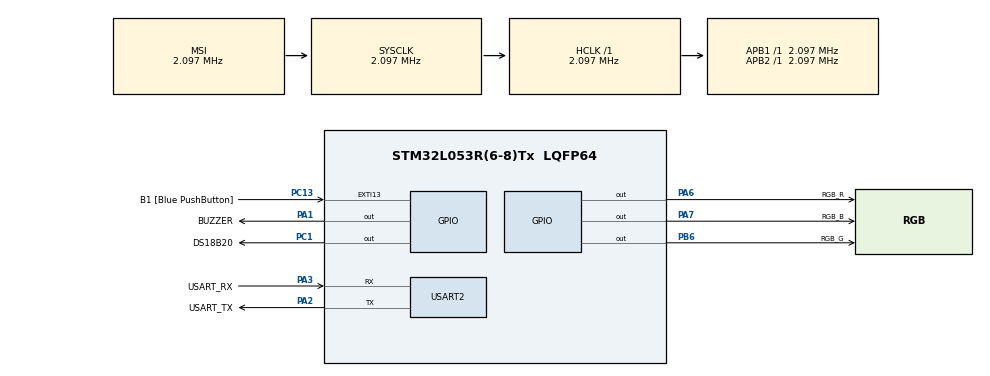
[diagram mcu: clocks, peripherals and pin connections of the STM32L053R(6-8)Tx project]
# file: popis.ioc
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Mcu.Family=STM32L0
Mcu.Name=STM32L053R(6-8)Tx
Mcu.Package=LQFP64
PA1.GPIO_Label=BUZZER
PA1.Signal=GPIO_Output
PA13.GPIO_Label=TMS
PA13.Mode=Serial_Wire
PA13.Signal=SYS_SWDIO
PA14.GPIO_Label=TCK
PA14.Mode=Serial_Wire
PA14.Signal=SYS_SWCLK
PA2.GPIO_Label=USART_TX
PA2.Mode=Asynchronous
PA2.Signal=USART2_TX
PA3.GPIO_Label=USART_RX
PA3.Mode=Asynchronous
PA3.Signal=USART2_RX
PA6.GPIO_Label=RGB_R
PA6.Signal=GPIO_Output
PA7.GPIO_Label=RGB_B
PA7.Signal=GPIO_Output
PB6.GPIO_FM6=__NULL
PB6.GPIO_Label=RGB_G
PB6.Signal=GPIO_Output
PC1.GPIO_Label=DS18B20
PC1.GPIO_ModeDefaultOutputPP=GPIO_MODE_OUTPUT_OD
PC1.GPIO_PuPd=GPIO_PULLUP
PC1.PinState=GPIO_PIN_RESET
PC1.Signal=GPIO_Output
PC13.GPIO_Label=B1 [Blue PushButton]
PC13.GPIO_ModeDefaultEXTI=GPIO_MODE_IT_FALLING
PC13.Signal=GPXTI13
PC14-OSC32_IN.Mode=LSE-External-Oscillator
PC14-OSC32_IN.Signal=RCC_OSC32_IN
PC15-OSC32_OUT.Mode=LSE-External-Oscillator
PC15-OSC32_OUT.Signal=RCC_OSC32_OUT
PH0-OSC_IN.Mode=HSE-External-Clock-Source
PH0-OSC_IN.Signal=RCC_OSC_IN
PH1-OSC_OUT.Signal=RCC_OSC_OUT
ProjectManager.HeapSize=0x200
ProjectManager.StackSize=0x400
ProjectManager.TargetToolchain=STM32CubeIDE
RCC.AHBFreq_Value=2097000
RCC.APB1Freq_Value=2097000
RCC.APB1TimFreq_Value=2097000
RCC.APB2Freq_Value=2097000
RCC.APB2TimFreq_Value=2097000
RCC.HSE_VALUE=8000000
RCC.HSI16_VALUE=16000000
RCC.HSI48_VALUE=48000000
RCC.HSI_VALUE=16000000
RCC.MSI_VALUE=2097000
RCC.SYSCLKFreq_VALUE=2097000
RCC.VCOOutputFreq_Value=48000000
TIM2.Prescaler=1
USART2.VirtualMode-Asynchronous=VM_ASYNC
VP_TIM2_VS_ClockSourceINT.Mode=Internal
board=NUCLEO-L053R8

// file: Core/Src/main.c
/* USER CODE BEGIN Header */
/**
  ******************************************************************************
  * @file           : main.c
  * @brief          : Main program body
  ******************************************************************************
  * @attention
  *
  * Copyright (c) 2026 STMicroelectronics.
  * All rights reserved.
  *
  * This software is licensed under terms that can be found in the LICENSE file
  * in the root directory of this software component.
  * If no LICENSE file comes with this software, it is provided AS-IS.
  *
  ******************************************************************************
  */
/* USER CODE END Header */
#include "main.h"
#include <stdio.h>
#include <string.h>
#include "onewire_stm32.h"
/* USER CODE BEGIN Includes */
#include <stdio.h>
#include <string.h>
#include "onewire_stm32.h"
/* USER CODE END Includes */

TIM_HandleTypeDef htim2;

UART_HandleTypeDef huart2;

void SystemClock_Config(void);
static void MX_GPIO_Init(void);
static void MX_USART2_UART_Init(void);
static void MX_TIM2_Init(void);
/* USER CODE BEGIN PFP */
void delay_us(uint16_t us);
/* USER CODE END PFP */

/* USER CODE BEGIN 0 */

float DS18B20_ReadTemp(void)
{
  if (!OW_Reset())
    return -100.0f;

  delay_us(200);

  OW_WriteByte(0xCC);
  OW_WriteByte(0x44);

  // ← ВАЖНО
  while (!OW_ReadByte());

  if (!OW_Reset())
    return -200.0f;

  delay_us(200);

  OW_WriteByte(0xCC);
  OW_WriteByte(0xBE);

  uint8_t temp_l = OW_ReadByte();
  uint8_t temp_h = OW_ReadByte();

  char rawmsg[60];
  sprintf(rawmsg, "RAW L=%02X H=%02X\r\n", temp_l, temp_h);
  HAL_UART_Transmit(&huart2, (uint8_t*)rawmsg, strlen(rawmsg), 100);

  int16_t raw = (temp_h << 8) | temp_l;

  return raw / 16.0f;
}

/* USER CODE END 0 */

int main(void)
{

  /* MCU Configuration--------------------------------------------------------*/

  /* Reset of all peripherals, Initializes the Flash interface and the Systick. */
  HAL_Init();

  /* Configure the system clock */
  SystemClock_Config();

  /* Initialize all configured peripherals */
  MX_GPIO_Init();
  MX_USART2_UART_Init();
  MX_TIM2_Init();
  /* USER CODE BEGIN 2 */
  HAL_TIM_Base_Start(&htim2);
  OW_Init(DS18B20_GPIO_Port, DS18B20_Pin);
  HAL_GPIO_WritePin(DS18B20_GPIO_Port, DS18B20_Pin, GPIO_PIN_SET);
  HAL_Delay(10);
  /* USER CODE END 2 */

  /* Infinite loop */
  /* USER CODE BEGIN WHILE */
  while (1)
  {
	  float t = DS18B20_ReadTemp();

	  int temp100 = (int)(t * 100);
	  char msg[50];

	  if (t < 0)
	  {
	    temp100 = -temp100;
	    sprintf(msg, "Temp: %d.%02d\r\n", temp100 / 100, temp100 % 100);
	  }
	  else
	  {
	    sprintf(msg, "Temp: %d.%02d\r\n", temp100 / 100, temp100 % 100);
	  }

	  HAL_UART_Transmit(&huart2, (uint8_t*)msg, strlen(msg), 100);
	  // если датчик/чтение сломалось — синий
	  // 🔵 если датчик не найден / ошибка
	  if (t == -100.0f || t == -200.0f)
	  {
	    HAL_GPIO_WritePin(RGB_R_GPIO_Port, RGB_R_Pin, GPIO_PIN_RESET);
	    HAL_GPIO_WritePin(RGB_G_GPIO_Port, RGB_G_Pin, GPIO_PIN_RESET);
	    HAL_GPIO_WritePin(RGB_B_GPIO_Port, RGB_B_Pin, GPIO_PIN_SET);

	    HAL_GPIO_WritePin(BUZZER_GPIO_Port, BUZZER_Pin, GPIO_PIN_RESET);
	  }
	  // 🔴 если сильно большое значение (нагрев)
	  else if (t < -400.0f)
	  {
	    HAL_GPIO_WritePin(RGB_R_GPIO_Port, RGB_R_Pin, GPIO_PIN_SET);
	    HAL_GPIO_WritePin(RGB_G_GPIO_Port, RGB_G_Pin, GPIO_PIN_RESET);
	    HAL_GPIO_WritePin(RGB_B_GPIO_Port, RGB_B_Pin, GPIO_PIN_RESET);

	    HAL_GPIO_WritePin(BUZZER_GPIO_Port, BUZZER_Pin, GPIO_PIN_SET);
	    int delays[] = {30, 60, 30, 100};

	    for (int i = 0; i < 4; i++)
	    {
	      HAL_GPIO_TogglePin(BUZZER_GPIO_Port, BUZZER_Pin);
	      HAL_Delay(delays[i]);
	    }
	  }
	  // 🟢 всё остальное — нормально
	  else
	  {
	    HAL_GPIO_WritePin(RGB_R_GPIO_Port, RGB_R_Pin, GPIO_PIN_RESET);
	    HAL_GPIO_WritePin(RGB_G_GPIO_Port, RGB_G_Pin, GPIO_PIN_SET);
	    HAL_GPIO_WritePin(RGB_B_GPIO_Port, RGB_B_Pin, GPIO_PIN_RESET);

	    HAL_GPIO_WritePin(BUZZER_GPIO_Port, BUZZER_Pin, GPIO_PIN_RESET);
	  }
	  HAL_Delay(1000);
    /* USER CODE END WHILE */

  }
}

void SystemClock_Config(void)
{
  RCC_OscInitTypeDef RCC_OscInitStruct = {0};
  RCC_ClkInitTypeDef RCC_ClkInitStruct = {0};
  RCC_PeriphCLKInitTypeDef PeriphClkInit = {0};

  /** Configure the main internal regulator output voltage
  */
  __HAL_PWR_VOLTAGESCALING_CONFIG(PWR_REGULATOR_VOLTAGE_SCALE1);

  /** Initializes the RCC Oscillators according to the specified parameters
  * in the RCC_OscInitTypeDef structure.
  */
  RCC_OscInitStruct.OscillatorType = RCC_OSCILLATORTYPE_MSI;
  RCC_OscInitStruct.MSIState = RCC_MSI_ON;
  RCC_OscInitStruct.MSICalibrationValue = 0;
  RCC_OscInitStruct.MSIClockRange = RCC_MSIRANGE_5;
  RCC_OscInitStruct.PLL.PLLState = RCC_PLL_NONE;
  if (HAL_RCC_OscConfig(&RCC_OscInitStruct) != HAL_OK)
  {
    Error_Handler();
  }

  /** Initializes the CPU, AHB and APB buses clocks
  */
  RCC_ClkInitStruct.ClockType = RCC_CLOCKTYPE_HCLK|RCC_CLOCKTYPE_SYSCLK
                              |RCC_CLOCKTYPE_PCLK1|RCC_CLOCKTYPE_PCLK2;
  RCC_ClkInitStruct.SYSCLKSource = RCC_SYSCLKSOURCE_MSI;
  RCC_ClkInitStruct.AHBCLKDivider = RCC_SYSCLK_DIV1;
  RCC_ClkInitStruct.APB1CLKDivider = RCC_HCLK_DIV1;
  RCC_ClkInitStruct.APB2CLKDivider = RCC_HCLK_DIV1;

  if (HAL_RCC_ClockConfig(&RCC_ClkInitStruct, FLASH_LATENCY_0) != HAL_OK)
  {
    Error_Handler();
  }
  PeriphClkInit.PeriphClockSelection = RCC_PERIPHCLK_USART2;
  PeriphClkInit.Usart2ClockSelection = RCC_USART2CLKSOURCE_PCLK1;
  if (HAL_RCCEx_PeriphCLKConfig(&PeriphClkInit) != HAL_OK)
  {
    Error_Handler();
  }
}

static void MX_TIM2_Init(void)
{

  TIM_ClockConfigTypeDef sClockSourceConfig = {0};
  TIM_MasterConfigTypeDef sMasterConfig = {0};

  htim2.Instance = TIM2;
  htim2.Init.Prescaler = 1;
  htim2.Init.CounterMode = TIM_COUNTERMODE_UP;
  htim2.Init.Period = 65535;
  htim2.Init.ClockDivision = TIM_CLOCKDIVISION_DIV1;
  htim2.Init.AutoReloadPreload = TIM_AUTORELOAD_PRELOAD_DISABLE;
  if (HAL_TIM_Base_Init(&htim2) != HAL_OK)
  {
    Error_Handler();
  }
  sClockSourceConfig.ClockSource = TIM_CLOCKSOURCE_INTERNAL;
  if (HAL_TIM_ConfigClockSource(&htim2, &sClockSourceConfig) != HAL_OK)
  {
    Error_Handler();
  }
  sMasterConfig.MasterOutputTrigger = TIM_TRGO_RESET;
  sMasterConfig.MasterSlaveMode = TIM_MASTERSLAVEMODE_DISABLE;
  if (HAL_TIMEx_MasterConfigSynchronization(&htim2, &sMasterConfig) != HAL_OK)
  {
    Error_Handler();
  }

}

static void MX_USART2_UART_Init(void)
{

  huart2.Instance = USART2;
  huart2.Init.BaudRate = 115200;
  huart2.Init.WordLength = UART_WORDLENGTH_8B;
  huart2.Init.StopBits = UART_STOPBITS_1;
  huart2.Init.Parity = UART_PARITY_NONE;
  huart2.Init.Mode = UART_MODE_TX_RX;
  huart2.Init.HwFlowCtl = UART_HWCONTROL_NONE;
  huart2.Init.OverSampling = UART_OVERSAMPLING_16;
  huart2.Init.OneBitSampling = UART_ONE_BIT_SAMPLE_DISABLE;
  huart2.AdvancedInit.AdvFeatureInit = UART_ADVFEATURE_NO_INIT;
  if (HAL_UART_Init(&huart2) != HAL_OK)
  {
    Error_Handler();
  }

}

static void MX_GPIO_Init(void)
{
  GPIO_InitTypeDef GPIO_InitStruct = {0};

  /* GPIO Ports Clock Enable */
  __HAL_RCC_GPIOC_CLK_ENABLE();
  __HAL_RCC_GPIOH_CLK_ENABLE();
  __HAL_RCC_GPIOA_CLK_ENABLE();
  __HAL_RCC_GPIOB_CLK_ENABLE();

  /*Configure GPIO pin Output Level */
  HAL_GPIO_WritePin(DS18B20_GPIO_Port, DS18B20_Pin, GPIO_PIN_RESET);

  /*Configure GPIO pin Output Level */
  HAL_GPIO_WritePin(GPIOA, BUZZER_Pin|RGB_R_Pin|RGB_B_Pin, GPIO_PIN_RESET);

  /*Configure GPIO pin Output Level */
  HAL_GPIO_WritePin(RGB_G_GPIO_Port, RGB_G_Pin, GPIO_PIN_RESET);

  /*Configure GPIO pin : B1_Pin */
  GPIO_InitStruct.Pin = B1_Pin;
  GPIO_InitStruct.Mode = GPIO_MODE_IT_FALLING;
  GPIO_InitStruct.Pull = GPIO_NOPULL;
  HAL_GPIO_Init(B1_GPIO_Port, &GPIO_InitStruct);

  /*Configure GPIO pin : DS18B20_Pin */
  GPIO_InitStruct.Pin = DS18B20_Pin;
  GPIO_InitStruct.Mode = GPIO_MODE_OUTPUT_OD;
  GPIO_InitStruct.Pull = GPIO_PULLUP;
  GPIO_InitStruct.Speed = GPIO_SPEED_FREQ_LOW;
  HAL_GPIO_Init(DS18B20_GPIO_Port, &GPIO_InitStruct);

  /*Configure GPIO pins : BUZZER_Pin RGB_R_Pin RGB_B_Pin */
  GPIO_InitStruct.Pin = BUZZER_Pin|RGB_R_Pin|RGB_B_Pin;
  GPIO_InitStruct.Mode = GPIO_MODE_OUTPUT_PP;
  GPIO_InitStruct.Pull = GPIO_NOPULL;
  GPIO_InitStruct.Speed = GPIO_SPEED_FREQ_LOW;
  HAL_GPIO_Init(GPIOA, &GPIO_InitStruct);

  /*Configure GPIO pin : RGB_G_Pin */
  GPIO_InitStruct.Pin = RGB_G_Pin;
  GPIO_InitStruct.Mode = GPIO_MODE_OUTPUT_PP;
  GPIO_InitStruct.Pull = GPIO_NOPULL;
  GPIO_InitStruct.Speed = GPIO_SPEED_FREQ_LOW;
  HAL_GPIO_Init(RGB_G_GPIO_Port, &GPIO_InitStruct);

}

/* USER CODE BEGIN 4 */
void delay_us(uint16_t us)
{
  __HAL_TIM_SET_COUNTER(&htim2, 0);

  uint32_t guard = 0;
  while (__HAL_TIM_GET_COUNTER(&htim2) < us)
  {
    guard++;
    if (guard > 100000)
      break;
  }
}
/* USER CODE END 4 */

void Error_Handler(void)
{
  __disable_irq();
  while (1)
  {
  }
}
